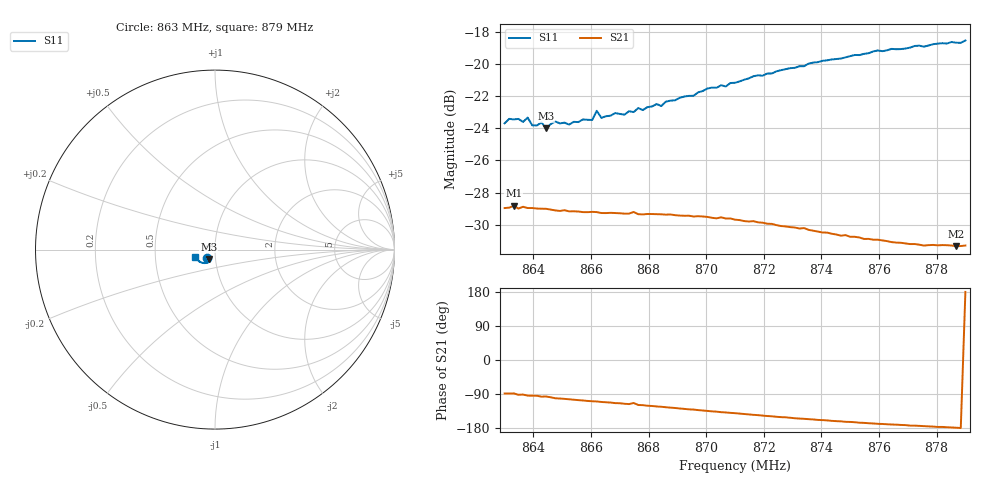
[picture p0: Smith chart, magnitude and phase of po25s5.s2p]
# HZ S RI R 50
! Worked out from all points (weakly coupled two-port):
!   101 points, 863 MHz to 879 MHz, reference 50 ohm
!   highest |S21| = -28.83 dB at 863.32 MHz (marker M1); lowest = -31.3 dB at 878.68 MHz (marker M2)
!   lowest |S11| = -24.0 dB at 864.44 MHz (marker M3), VSWR 1.13, Z = 46.4 - j4.87 ohm
!   |S11| at or under -10 dB: start of sweep to end of sweep
!   S12 and S22 are empty: the file has one direction only
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8.63e8  -0.0442 -0.0482  0.000938 -0.0356  0 0  0 0
8.6332e8  -0.0387 -0.055  0.00115 -0.0362  0 0  0 0
8.6364e8  -0.0384 -0.0537  -0.000693 -0.0359  0 0  0 0
8.638e8  -0.0415 -0.054  -0.00253 -0.0355  0 0  0 0
8.6396e8  -0.0364 -0.0532  -0.00262 -0.0355  0 0  0 0
8.6428e8  -0.0365 -0.0547  -0.00411 -0.0352  0 0  0 0
8.6444e8  -0.0351 -0.0523  -0.00393 -0.0352  0 0  0 0
8.6476e8  -0.0368 -0.0551  -0.00668 -0.0344  0 0  0 0
8.6524e8  -0.0347 -0.0547  -0.00823 -0.0338  0 0  0 0
8.6572e8  -0.0349 -0.0575  -0.00999 -0.0331  0 0  0 0
8.6604e8  -0.0346 -0.0573  -0.0113 -0.0328  0 0  0 0
8.662e8  -0.0392 -0.0598  -0.0115 -0.0326  0 0  0 0
8.6636e8  -0.0347 -0.0585  -0.0122 -0.0321  0 0  0 0
8.678e8  -0.0347 -0.063  -0.0166 -0.0297  0 0  0 0
8.6828e8  -0.0364 -0.0657  -0.0184 -0.0287  0 0  0 0
8.6844e8  -0.0355 -0.0649  -0.0188 -0.0284  0 0  0 0
8.686e8  -0.0357 -0.0676  -0.0193 -0.028  0 0  0 0
8.71e8  -0.0476 -0.0733  -0.0252 -0.0209  0 0  0 0
8.7372e8  -0.068 -0.0747  -0.0279 -0.0119  0 0  0 0
8.7644e8  -0.0925 -0.0622  -0.0275 -0.00475  0 0  0 0
8.7868e8  -0.108 -0.0436  -0.0271 -0.000614  0 0  0 0
8.79e8  -0.1115 -0.0399  -0.0272 0.000127  0 0  0 0
